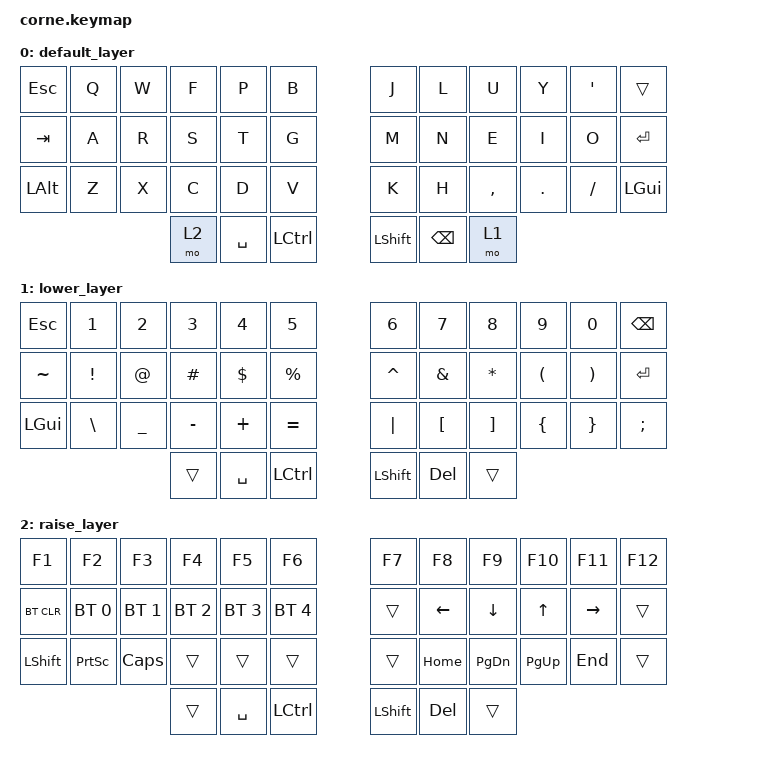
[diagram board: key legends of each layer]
/*
 * Copyright (c) 2020 The ZMK Contributors
 *
 * SPDX-License-Identifier: MIT
 */

#include <behaviors.dtsi>
#include <dt-bindings/zmk/keys.h>
#include <dt-bindings/zmk/bt.h>

/ {
        keymap {
                compatible = "zmk,keymap";

                default_layer {
// -----------------------------------------------------------------------------------------
// | ESC  |  Q  |  W  |  f  |  p  |  b  |   |  j  |  l   |  u  |  y  |  '  |      |
// | TAB  |  a  |  r  |  s  |  t  |  G  |   |  m  |  n   |  e  |  i  |  o  | RET  |
// | LALT  |  Z  |  X  |  C  |  d  |  v  |   |  k  |  h   |  ,  |  .  |  /  | WIN |
//                    | mo2 | SPC |CTRL |   |SHFT | BSPC | mo1 |
                        bindings = <
   &kp ESC   &kp Q &kp W &kp F &kp P &kp B   &kp J &kp L  &kp U     &kp Y   &kp SQT    &trans
   &kp TAB &kp A &kp R &kp S &kp T &kp G   &kp M &kp N  &kp E     &kp I   &kp O &kp RET
   &kp LALT &kp Z &kp X &kp C &kp D &kp V   &kp K &kp H  &kp COMMA &kp DOT &kp FSLH &kp LGUI
                  &mo 2 &kp SPACE &kp LCTRL   &kp LSHFT &kp BSPC &mo 1
                        >;
                };
                lower_layer {
// -----------------------------------------------------------------------------------------
// |  ESC |  1  |  2  |  3  |  4  |  5  |   |  6  |  7  |  8  |  9  |  0  | BSPC |
// |  ~   |  !  |  @  |  #  |  $  |  %  |   |  ^  |  &  |  *  |  (  |  )  | RET  |
// | LGUI |  \  |  _  |  -  |  +  |  =  |   |  |  |  [  |  ]  |  {  |  }  |  ;   |
//                    |     | SPC |LCTRL|   |LSHFT| DEL |     |
                        bindings = <
   &kp ESC    &kp N1       &kp N2       &kp N3       &kp N4       &kp N5         &kp N6   &kp N7   &kp N8 &kp N9    &kp N0 &kp BSPC
   &kp TILDE  &kp EXCL &kp AT &kp HASH &kp DLLR &kp PRCNT                        &kp CARET &kp AMPS  &kp ASTRK &kp LPAR &kp RPAR &kp RET
   &kp LGUI  &kp BSLH       &kp UNDER       &kp MINUS       &kp PLUS    &kp EQUAL         &kp PIPE   &kp LBKT   &kp RBKT &kp LBRC    &kp RBRC &kp SEMI
                                    &trans     &kp SPACE       &kp LCTRL      &kp LSHFT  &kp DEL   &trans
                        >;
                };
                raise_layer {
// -----------------------------------------------------------------------------------------
// |  F1 |  F2  |  F3  |  F4  |  F5  |  F6  |   |  F7  |  F8  |  F9  |  F10  |  F11  | F12 |
// | BTCLR| BT1 | BT2 | BT3 | BT4 | BT5 |   |    | LFT  | DWN |  UP | RGT |     |
// | SHFT |PSCRN| CAPS  |     |     |     |   |    |  HOME|PGDWN| PGUP| END  |     |
//                    |     | SPC | LCTRL |   | SHIFT |   DEL |    |
                        bindings = <
   &kp  F1  &kp F2 &kp F3 &kp F4 &kp F5 &kp F6   &kp F7 &kp F8  &kp F9 &kp F10 &kp F11 &kp F12
   &bt BT_CLR &bt BT_SEL 0 &bt BT_SEL 1 &bt BT_SEL 2 &bt BT_SEL 3 &bt BT_SEL 4   &trans &kp LEFT &kp DOWN &kp UP &kp RIGHT &trans
   &kp LSHFT &kp PSCRN   &kp CAPS &trans   &trans   &trans      &trans  &kp HOME  &kp PG_DN  &kp PG_UP &kp END &trans
                             &trans &kp SPACE   &kp LCTRL   &kp LSHFT   &kp DEL    &trans
                        >;
                };
        };
};
